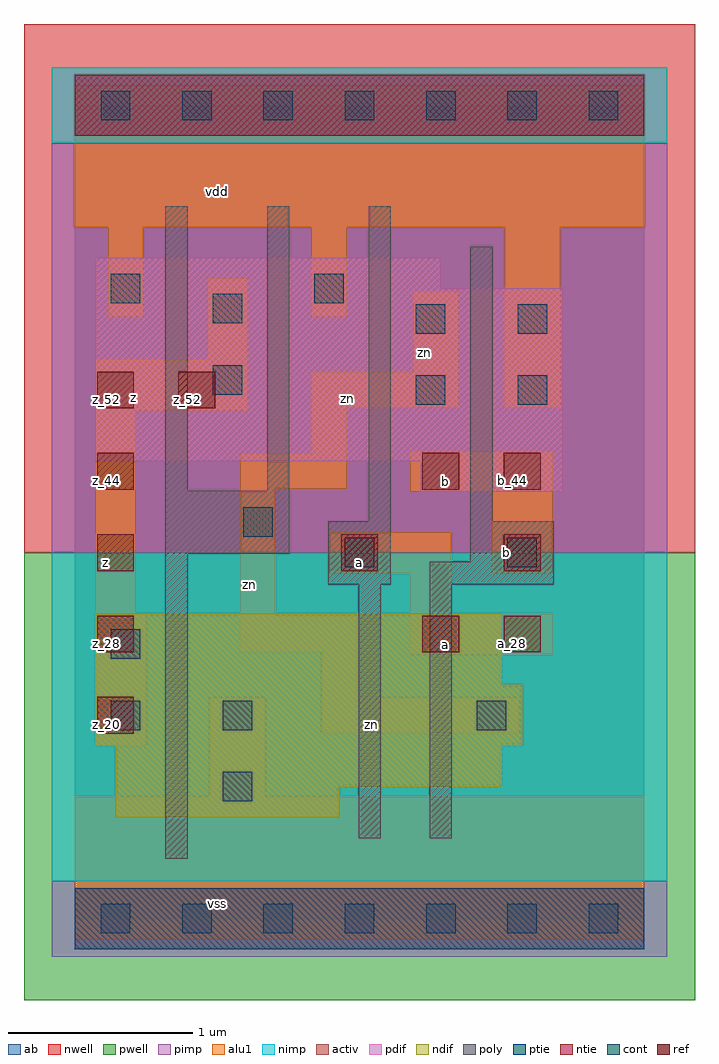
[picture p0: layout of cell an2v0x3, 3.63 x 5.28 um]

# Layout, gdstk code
import gdstk
lib = gdstk.Library(unit=1e-6, precision=2.5e-09)
def R(c, l, rs):  # rectangles x0, y0, x1, y1
    for r in rs: c.add(gdstk.rectangle(r[:2], r[2:], *l))
def A(c, l, x, y, w, h, nx, ny, dx, dy):  # array of equal rectangles
    R(c, l, [(x+i*dx, y+j*dy, x+i*dx+w, y+j*dy+h) for i in range(nx) for j in range(ny)])
ndif = (3, 0)
pdif = (4, 0)
ntie = (5, 0)
ptie = (6, 0)
ref = (24, 0)
cont = (25, 0)
pwell = (41, 0)
nwell = (42, 0)
activ = (43, 0)
pimp = (44, 0)
nimp = (45, 0)
poly = (46, 0)
alu1 = (49, 0)
ab = (63, 0)

an2v0x3 = lib.new_cell('an2v0x3')
R(an2v0x3, ndif, [(0.22,0.55,1.43,0.715), (0.22,0.715,2.31,0.935), (0.11,0.935,2.42,1.265), (0.11,1.265,2.31,1.65)])
R(an2v0x3, pdif, [(1.87,2.31,2.64,2.475), (0.11,2.475,2.64,3.41), (0.11,3.41,1.98,3.575)])
R(an2v0x3, ntie, [(0,4.235,3.08,4.565)])
R(an2v0x3, ptie, [(0,-0.165,3.08,0.165)])
A(an2v0x3, ref, 0.12, 1, 0.2, 0.2, 1, 5, 0, 0.44)
A(an2v0x3, ref, 2.32, 1.44, 0.2, 0.2, 1, 3, 0, 0.44)
R(an2v0x3, ref, [(1.88,1.44,2.08,1.64), (1.44,1.88,1.64,2.08), (1.88,2.32,2.08,2.52), (0.56,2.76,0.76,2.96)])
A(an2v0x3, cont, 0.14, -0.08, 0.16, 0.16, 7, 2, 0.44, 4.4)
R(an2v0x3, cont, [(0.8,0.635,0.96,0.795), (0.195,1.02,0.355,1.18), (0.8,1.02,0.96,1.18), (2.175,1.02,2.335,1.18), (0.195,1.405,0.355,1.565), (1.46,1.9,1.62,2.06), (2.34,1.9,2.5,2.06), (0.91,2.065,1.07,2.225), (1.845,2.78,2.005,2.94), (2.395,2.78,2.555,2.94), (0.745,2.835,0.905,2.995), (1.845,3.165,2.005,3.325), (2.395,3.165,2.555,3.325), (0.745,3.22,0.905,3.38), (0.195,3.33,0.355,3.49), (1.295,3.33,1.455,3.49)])
R(an2v0x3, pwell, [(-0.275,-0.44,3.355,1.98)])
R(an2v0x3, nwell, [(-0.275,1.98,3.355,4.84)])
R(an2v0x3, activ, [(0,-0.165,3.08,0.165), (0.22,0.55,1.43,0.715), (0.22,0.715,2.31,0.935), (0.11,0.935,2.42,1.265), (0.11,1.265,2.31,1.65), (1.87,2.31,2.64,2.475), (0.11,2.475,2.64,3.41), (0.11,3.41,1.98,3.575), (0,4.235,3.08,4.565)])
R(an2v0x3, pimp, [(-0.125,-0.205,3.205,0.205), (-0.125,1.98,3.205,4.195)])
R(an2v0x3, nimp, [(-0.125,0.205,3.205,1.98), (-0.125,4.195,3.205,4.605)])
R(an2v0x3, poly, [(0.49,0.325,0.61,1.975), (1.535,0.435,1.655,1.81), (1.92,0.435,2.04,1.81), (1.37,1.81,1.71,2.15), (1.92,1.81,2.59,1.93), (2.14,1.93,2.59,2.15), (0.49,1.975,1.16,2.315), (1.59,2.15,1.71,3.855), (2.14,2.15,2.26,3.635), (0.49,2.315,0.61,3.855), (1.04,2.315,1.16,3.855)])
R(an2v0x3, alu1, [(0,-0.11,3.08,0.66), (0.73,0.66,1.03,1.195), (0.11,0.935,0.385,1.65), (1.335,1.005,2.405,1.195), (1.335,1.195,1.525,1.445), (1.815,1.43,2.585,1.65), (0.895,1.445,1.525,1.635), (0.895,1.635,1.085,2.325), (0.11,1.65,0.33,2.75), (1.815,1.65,2.035,1.87), (1.375,1.87,2.035,2.09), (2.255,1.87,2.585,2.31), (1.815,2.31,2.585,2.53), (0.895,2.325,1.47,2.515), (1.28,2.515,1.47,2.765), (0.11,2.75,0.935,3.025), (1.28,2.765,2.075,2.955), (2.325,2.765,2.625,3.74), (1.83,2.955,2.075,3.395), (0.715,3.025,0.935,3.465), (0.18,3.26,0.37,3.74), (1.28,3.26,1.47,3.74), (0,3.74,3.08,4.51)])
R(an2v0x3, ab, [(0,0,3.08,4.4)])
an2v0x3.add(gdstk.Label('vss', (0.77,0.0825), layer=49, texttype=0))
an2v0x3.add(gdstk.Label('zn', (1.6025,1.0525), layer=49, texttype=0))
an2v0x3.add(gdstk.Label('a', (2.0075,1.485), layer=49, texttype=0))
an2v0x3.add(gdstk.Label('b', (2.3375,1.98), layer=49, texttype=0))
an2v0x3.add(gdstk.Label('a', (1.54,1.925), layer=49, texttype=0))
an2v0x3.add(gdstk.Label('b', (2.0075,2.365), layer=49, texttype=0))
an2v0x3.add(gdstk.Label('zn', (0.9425,1.8075), layer=49, texttype=0))
an2v0x3.add(gdstk.Label('z', (0.165,1.925), layer=49, texttype=0))
an2v0x3.add(gdstk.Label('zn', (1.4775,2.8125), layer=49, texttype=0))
an2v0x3.add(gdstk.Label('zn', (1.89,3.065), layer=49, texttype=0))
an2v0x3.add(gdstk.Label('z', (0.315,2.8175), layer=49, texttype=0))
an2v0x3.add(gdstk.Label('vdd', (0.77,3.9325), layer=49, texttype=0))
an2v0x3.add(gdstk.Label('z_52', (0.61,2.81), layer=24, texttype=0))
an2v0x3.add(gdstk.Label('a_36', (1.49,1.93), layer=24, texttype=0))
an2v0x3.add(gdstk.Label('a_28', (1.93,1.49), layer=24, texttype=0))
an2v0x3.add(gdstk.Label('b_44', (1.93,2.37), layer=24, texttype=0))
an2v0x3.add(gdstk.Label('z_20', (0.17,1.05), layer=24, texttype=0))
an2v0x3.add(gdstk.Label('z_28', (0.17,1.49), layer=24, texttype=0))
an2v0x3.add(gdstk.Label('z_36', (0.17,1.93), layer=24, texttype=0))
an2v0x3.add(gdstk.Label('z_44', (0.17,2.37), layer=24, texttype=0))
an2v0x3.add(gdstk.Label('z_52', (0.17,2.81), layer=24, texttype=0))
an2v0x3.add(gdstk.Label('a_28', (2.37,1.49), layer=24, texttype=0))
an2v0x3.add(gdstk.Label('b_36', (2.37,1.93), layer=24, texttype=0))
an2v0x3.add(gdstk.Label('b_44', (2.37,2.37), layer=24, texttype=0))

lib.write_gds('an2v0x3.gds')
